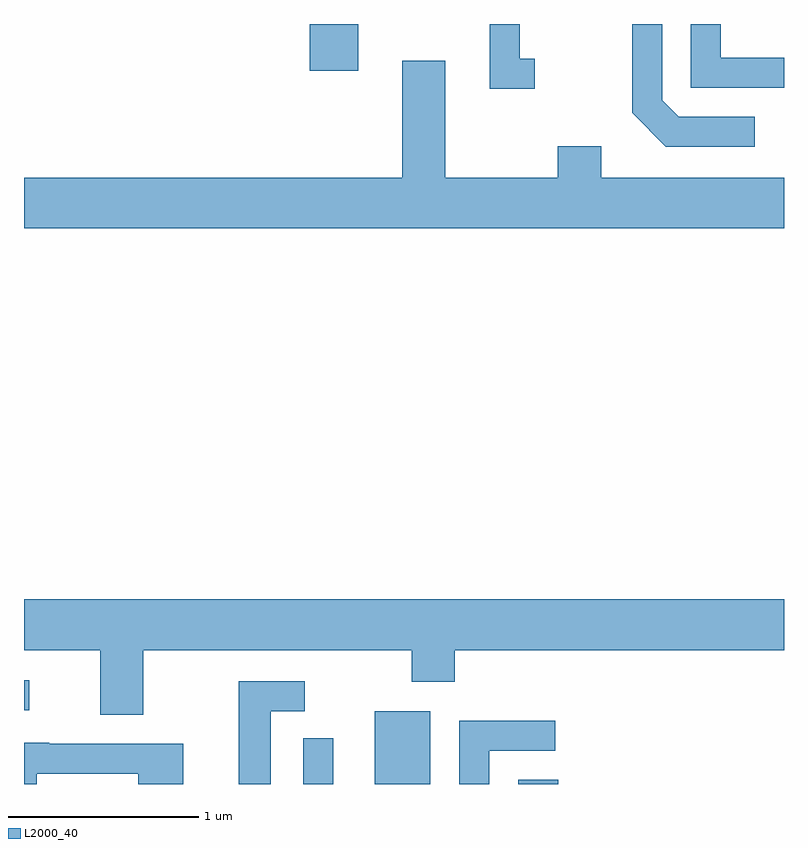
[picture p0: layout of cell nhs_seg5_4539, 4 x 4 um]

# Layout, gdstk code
import gdstk
lib = gdstk.Library(unit=1e-6, precision=1e-09)
def R(c, l, rs):  # rectangles x0, y0, x1, y1
    for r in rs: c.add(gdstk.rectangle(r[:2], r[2:], *l))
def P(c, l, *ps):  # polygons
    for p in ps: c.add(gdstk.Polygon(p, *l))
L2000_40 = (2000, 40)

nhs_seg5_4539 = lib.new_cell('nhs_seg5_4539')
R(nhs_seg5_4539, L2000_40, [(321.081,1476.072,321.239,1476.313), (321.456,1476.072,321.749,1476.454), (322.211,1476.072,322.424,1476.094), (319.611,1476.461,319.638,1476.619)])
P(nhs_seg5_4539, L2000_40, [(321.369,1480.072),(320.346,1480.072),(320.346,1480.071),(321.116,1480.071),(321.116,1479.826),(321.369,1479.826)],
  [(322.298,1479.889),(322.219,1479.889),(322.219,1480.072),(322.061,1480.072),(322.061,1479.731),(322.298,1479.731)],
  [(323.458,1479.584),(323.057,1479.584),(322.969,1479.672),(322.969,1480.072),(322.371,1480.072),(322.371,1480.071),(322.811,1480.071),(322.811,1479.604),(322.989,1479.426),(323.458,1479.426)],
  [(323.611,1479.894),(323.279,1479.894),(323.279,1480.072),(323.121,1480.072),(323.121,1479.736),(323.611,1479.736)],
  [(323.611,1479.264),(322.649,1479.264),(322.649,1479.429),(322.421,1479.429),(322.421,1479.264),(321.829,1479.264),(321.829,1479.879),(321.601,1479.879),(321.601,1479.264),(319.611,1479.264),(319.611,1478.996),(323.611,1478.996)],
  [(320.239,1476.776),(321.651,1476.776),(321.651,1476.611),(321.879,1476.611),(321.879,1476.776),(323.611,1476.776),(323.611,1477.044),(319.611,1477.044),(319.611,1476.776),(320.011,1476.776),(320.011,1476.436),(320.239,1476.436)],
  [(320.909,1476.456),(321.088,1476.456),(321.088,1476.614),(320.741,1476.614),(320.741,1476.072),(320.909,1476.072)],
  [(322.059,1476.246),(322.408,1476.246),(322.408,1476.404),(321.901,1476.404),(321.901,1476.072),(322.059,1476.072)],
  [(319.679,1476.126),(320.211,1476.126),(320.211,1476.072),(320.449,1476.072),(320.449,1476.284),(319.745,1476.284),(319.745,1476.289),(319.611,1476.289),(319.611,1476.072),(319.679,1476.072)])

lib.write_gds('nhs_seg5_4539.gds')
